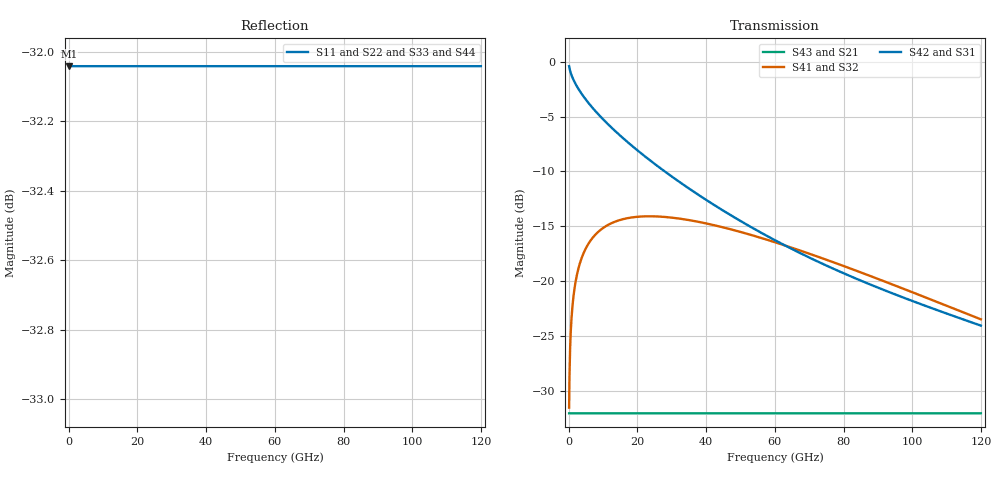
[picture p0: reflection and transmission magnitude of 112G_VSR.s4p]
! Created with skrf 1.12.0 (http://scikit-rf.org).
# Hz S RI R 50.0
!freq ReS11 ImS11 ReS12 ImS12 ReS13 ImS13
! ReS14 ImS14
! ReS21 ImS21 ReS22 ImS22 ReS23 ImS23
! ReS24 ImS24
! ReS31 ImS31 ReS32 ImS32 ReS33 ImS33
! ReS34 ImS34
! ReS41 ImS41 ReS42 ImS42 ReS43 ImS43
! ReS44 ImS44
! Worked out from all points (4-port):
!   1200 points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, 100 MHz to 120 GHz, reference 50 ohm
!   strongest paths, dB at 100 MHz, 30.1 GHz, 60.1 GHz, 90.1 GHz, 120 GHz:
!     S42: -0.4, -10.5, -16.3, -20.6, -24.1
!     S31: -0.4, -10.5, -16.3, -20.6, -24.1
!     S41: -31.5, -14.2, -16.5, -19.8, -23.5
!     S32: -31.5, -14.2, -16.5, -19.8, -23.5
!     S43: -32.0, -32.0, -32.0, -32.0, -32.0
!     S21: -32.0, -32.0, -32.0, -32.0, -32.0
!   lowest |S11| = -32.0 dB at 100 MHz (marker M1), VSWR 1.05, Z = 52.6 + j0 ohm
!   |S11| at or under -10 dB: start of sweep to end of sweep
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1e8  0.025 0  -0.025 0  0.9461 -0.1221  0.0225 0.0141
     -0.025 0  0.025 0  0.0225 0.0141  0.9461 -0.1221
     0.9461 -0.1221  0.0225 0.0141  0.025 0  -0.025 0
     0.0225 0.0141  0.9461 -0.1221  -0.025 0  0.025 0
3.2e9  0.025 0  -0.025 0  -0.7311 -0.0762  -0.0986 -0.0686
       -0.025 0  0.025 0  -0.0986 -0.0686  -0.7311 -0.0762
       -0.7311 -0.0762  -0.0986 -0.0686  0.025 0  -0.025 0
       -0.0986 -0.0686  -0.7311 -0.0762  -0.025 0  0.025 0
6.7e9  0.025 0  -0.025 0  0.6217 0.0213  0.1364 0.0753
       -0.025 0  0.025 0  0.1364 0.0753  0.6217 0.0213
       0.6217 0.0213  0.1364 0.0753  0.025 0  -0.025 0
       0.1364 0.0753  0.6217 0.0213  -0.025 0  0.025 0
1.01e10  0.025 0  -0.025 0  -0.5431 -0.0353  -0.1518 -0.0874
         -0.025 0  0.025 0  -0.1518 -0.0874  -0.5431 -0.0353
         -0.5431 -0.0353  -0.1518 -0.0874  0.025 0  -0.025 0
         -0.1518 -0.0874  -0.5431 -0.0353  -0.025 0  0.025 0
1.36e10  0.025 0  -0.025 0  0.4816 0.00355  0.1678 0.0826
         -0.025 0  0.025 0  0.1678 0.0826  0.4816 0.00355
         0.4816 0.00355  0.1678 0.0826  0.025 0  -0.025 0
         0.1678 0.0826  0.4816 0.00355  -0.025 0  0.025 0
1.7e10  0.025 0  -0.025 0  -0.4314 -0.0185  -0.171 -0.0906
        -0.025 0  0.025 0  -0.171 -0.0906  -0.4314 -0.0185
        -0.4314 -0.0185  -0.171 -0.0906  0.025 0  -0.025 0
        -0.171 -0.0906  -0.4314 -0.0185  -0.025 0  0.025 0
1.2e11  0.025 0  -0.025 0  -0.0601 -0.0181  -0.0643 -0.0188
        -0.025 0  0.025 0  -0.0643 -0.0188  -0.0601 -0.0181
        -0.0601 -0.0181  -0.0643 -0.0188  0.025 0  -0.025 0
        -0.0643 -0.0188  -0.0601 -0.0181  -0.025 0  0.025 0
